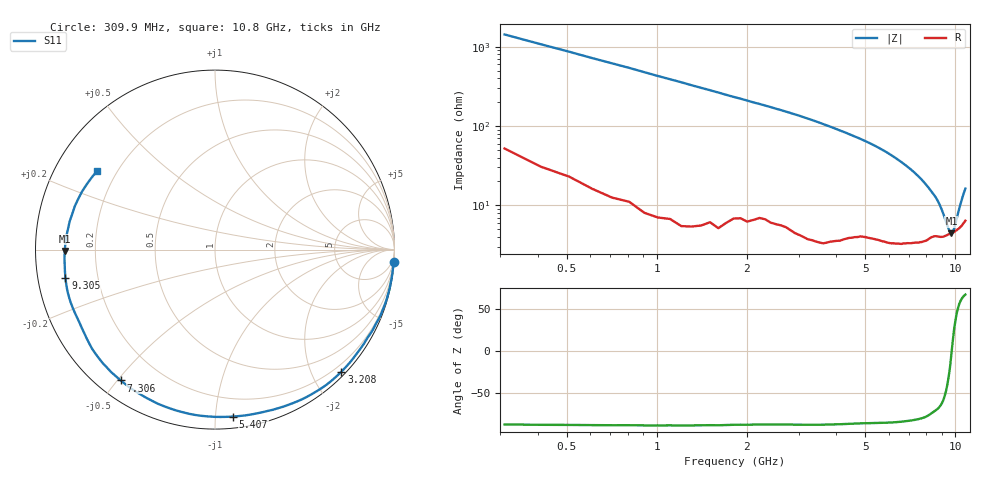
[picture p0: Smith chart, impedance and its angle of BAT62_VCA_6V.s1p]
! Infineon Technologies  Discrete & RF Semiconductors
! BAT62
! VCA = 6 V
! One-Port S-Parameters
# Hz  S  MA  R  50
!f  S11
!Hz  Mag  Ang
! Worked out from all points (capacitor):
!   106 points, 309.9 MHz to 10.8 GHz, reference 50 ohm
!   read as one part to ground: C = 361 fF near 309.9 MHz
!   lowest |Z| = 4.44 ohm at 9.705 GHz (marker M1)
!   series resonance near 9.726 GHz, so ESL is about 740 pH
!   S11 on the Smith chart (normalised r, x): 309.9 MHz: 1, -28; 3.208 GHz: 0.07, -2.47; 5.407 GHz: 0.07, -1.11; 7.306 GHz: 0.07, -0.51; 9.305 GHz: 0.08, -0.09; 10.8 GHz: 0.13, +0.30
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3.0985e8  0.9974 -4.0
1.0095e9  0.9962 -13.4
1.70915e9  0.9906 -22.9
2.4088e9  0.9816 -32.2
3.0085e9  0.9797 -40.8
3.2084e9  0.9793 -44.0
3.70815e9  0.9741 -52.3
4.30785e9  0.9596 -62.9
4.90755e9  0.9436 -73.9
5.4073e9  0.9357 -83.9
5.6072e9  0.933 -88.1
6.007e9  0.9279 -96.8
6.30685e9  0.9221 -103.5
6.6067e9  0.916 -110.3
6.90655e9  0.9075 -117.0
7.30635e9  0.8986 -125.8
7.8061e9  0.8862 -136.8
8.2059e9  0.8691 -145.5
8.8056e9  0.8563 -157.5
9.10545e9  0.8539 -164.5
9.30535e9  0.8482 -169.3
9.50525e9  0.8416 -174.2
9.70515e9  0.837 -179.4
9.90505e9  0.832 174.9
1.010495e10  0.8248 169.0
1.030485e10  0.8177 162.8
1.050475e10  0.8083 156.4
1.08046e10  0.7902 146.3
